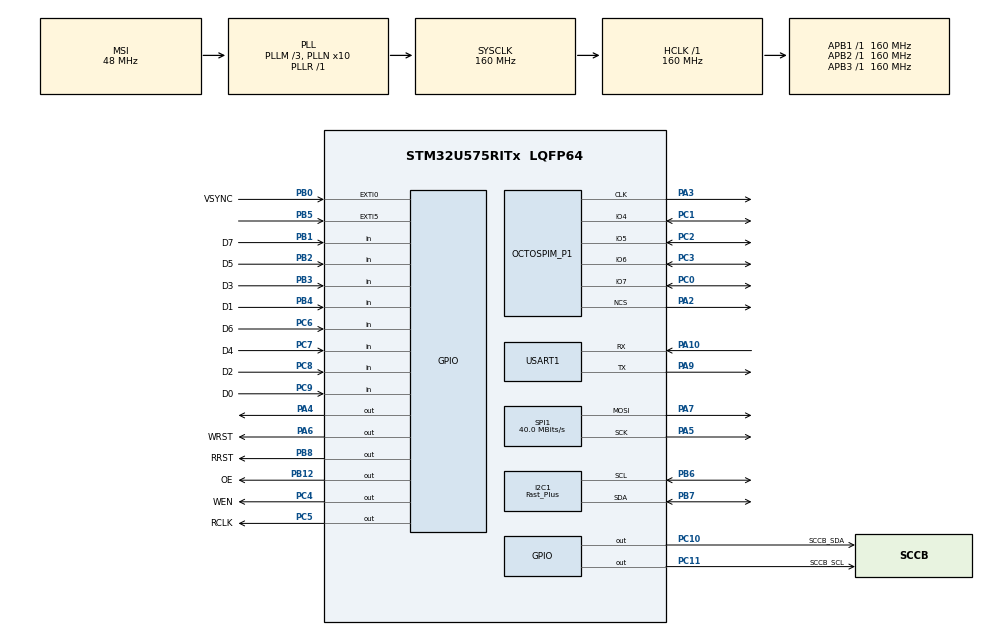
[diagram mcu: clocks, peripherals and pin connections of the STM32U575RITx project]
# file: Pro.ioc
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CORTEX_M33_NS.userName=CORTEX_M33
DMA2D.ColorMode=DMA2D_OUTPUT_RGB565
GPDMA1.DESTDATAWIDTH_GPDMACH0=DMA_DEST_DATAWIDTH_HALFWORD
GPDMA1.DIRECTION_GPDMACH0=DMA_MEMORY_TO_PERIPH
GPDMA1.IPHANDLE_GPDMACH0-SIMPLEREQUEST_GPDMACH0=__NULL
GPDMA1.PRIORITY_GPDMACH0=DMA_LOW_PRIORITY_HIGH_WEIGHT
GPDMA1.REQUEST_GPDMACH0=GPDMA1_REQUEST_SPI1_TX
GPDMA1.SRCDATAWIDTH_GPDMACH0=DMA_SRC_DATAWIDTH_HALFWORD
GPDMA1.SRCINC_GPDMACH0=DMA_SINC_INCREMENTED
GPDMA1.TRANSFERALLOCATEDPORTDEST_GPDMACH0=DMA_DEST_ALLOCATED_PORT1
I2C1.I2C_Speed_Mode=I2C_Fast_Plus
I2C1.Timing=0x00701F6B
Mcu.Family=STM32U5
Mcu.Name=STM32U575RITx
Mcu.Package=LQFP64
NVIC.EXTI0_IRQn=true\:0\:0\:false\:false\:true\:true\:true\:true
NVIC.EXTI5_IRQn=true\:2\:0\:true\:false\:true\:true\:true\:true
NVIC.GPDMA1_Channel0_IRQn=true\:0\:0\:false\:false\:true\:false\:true\:true
NVIC.PriorityGroup=NVIC_PRIORITYGROUP_4
NVIC.SPI1_IRQn=true\:0\:0\:false\:false\:true\:false\:true\:true
NVIC.TIM2_IRQn=true\:10\:0\:true\:false\:true\:true\:true\:true
NVIC.TIM6_IRQn=true\:15\:0\:true\:false\:true\:false\:true\:true
NVIC.TimeBase=TIM6_IRQn
NVIC.TimeBaseIP=TIM6
NVIC.USART1_IRQn=true\:1\:0\:true\:false\:true\:true\:true\:true
OCTOSPI1.ClockMode=HAL_OSPI_CLOCK_MODE_3
OCTOSPI1.ClockPrescaler=2
OCTOSPI1.DeviceSize=24
OCTOSPI1.DeviceType=SPI_DEVICE_FLASH
OCTOSPI1.FifoThreshold=8
OCTOSPI1.SampleShifting=HAL_OSPI_SAMPLE_SHIFTING_HALFCYCLE
PA10.GPIO_Speed=GPIO_SPEED_FREQ_VERY_HIGH
PA10.Mode=Asynchronous
PA10.Signal=USART1_RX
PA13\ (JTMS/SWDIO).Mode=Serial_Wire
PA13\ (JTMS/SWDIO).Signal=DEBUG_JTMS-SWDIO
PA14\ (JTCK/SWCLK).Mode=Serial_Wire
PA14\ (JTCK/SWCLK).Signal=DEBUG_JTCK-SWCLK
PA2.Mode=OCTOSPI1_Port1_NCS
PA2.Signal=OCTOSPIM_P1_NCS
PA3.Mode=O1_P1_CLK
PA3.Signal=OCTOSPIM_P1_CLK
PA4.Signal=GPIO_Output
PA5.GPIO_Speed=GPIO_SPEED_FREQ_VERY_HIGH
PA5.Mode=TX_Only_Simplex_Unidirect_Master
PA5.Signal=SPI1_SCK
PA6.GPIO_Label=WRST
PA6.GPIO_Speed=GPIO_SPEED_FREQ_VERY_HIGH
PA6.Signal=GPIO_Output
PA7.GPIO_Speed=GPIO_SPEED_FREQ_VERY_HIGH
PA7.Mode=TX_Only_Simplex_Unidirect_Master
PA7.Signal=SPI1_MOSI
PA9.GPIO_Speed=GPIO_SPEED_FREQ_VERY_HIGH
PA9.Mode=Asynchronous
PA9.Signal=USART1_TX
PB0.GPIO_Label=VSYNC
PB0.GPIO_ModeDefaultEXTI=GPIO_MODE_IT_RISING
PB0.Signal=GPXTI0
PB1.GPIO_Label=D7
PB1.GPIO_PuPd=GPIO_PULLUP
PB1.Signal=GPIO_Input
PB12.GPIO_Label=OE
PB12.GPIO_Speed=GPIO_SPEED_FREQ_VERY_HIGH
PB12.Signal=GPIO_Output
PB2.GPIO_Label=D5
PB2.GPIO_PuPd=GPIO_PULLUP
PB2.Signal=GPIO_Input
PB3\ (JTDO/TRACESWO).GPIO_Label=D3
PB3\ (JTDO/TRACESWO).GPIO_PuPd=GPIO_PULLUP
PB3\ (JTDO/TRACESWO).Signal=GPIO_Input
PB4\ (NJTRST).GPIO_Label=D1
PB4\ (NJTRST).GPIO_PuPd=GPIO_PULLUP
PB4\ (NJTRST).Signal=GPIO_Input
PB5.GPIO_ModeDefaultEXTI=GPIO_MODE_IT_FALLING
PB5.GPIO_PuPd=GPIO_PULLUP
PB5.Signal=GPXTI5
PB6.GPIO_Speed=GPIO_SPEED_FREQ_VERY_HIGH
PB6.Mode=I2C
PB6.Signal=I2C1_SCL
PB7.GPIO_Speed=GPIO_SPEED_FREQ_VERY_HIGH
PB7.Mode=I2C
PB7.Signal=I2C1_SDA
PB8.GPIO_Label=RRST
PB8.GPIO_Speed=GPIO_SPEED_FREQ_VERY_HIGH
PB8.Signal=GPIO_Output
PC0.Mode=OCTOSPI1_IOL_Port1H
PC0.Signal=OCTOSPIM_P1_IO7
PC1.Mode=OCTOSPI1_IOL_Port1H
PC1.Signal=OCTOSPIM_P1_IO4
PC10.GPIO_Label=SCCB_SDA
PC10.GPIO_Speed=GPIO_SPEED_FREQ_VERY_HIGH
PC10.Signal=GPIO_Output
PC11.GPIO_Label=SCCB_SCL
PC11.GPIO_Speed=GPIO_SPEED_FREQ_VERY_HIGH
PC11.Signal=GPIO_Output
PC2.Mode=OCTOSPI1_IOL_Port1H
PC2.Signal=OCTOSPIM_P1_IO5
PC3.Mode=OCTOSPI1_IOL_Port1H
PC3.Signal=OCTOSPIM_P1_IO6
PC4.GPIO_Label=WEN
PC4.GPIO_Speed=GPIO_SPEED_FREQ_VERY_HIGH
PC4.Signal=GPIO_Output
PC5.GPIO_Label=RCLK
PC5.GPIO_Speed=GPIO_SPEED_FREQ_VERY_HIGH
PC5.Signal=GPIO_Output
PC6.GPIO_Label=D6
PC6.GPIO_PuPd=GPIO_PULLUP
PC6.Signal=GPIO_Input
PC7.GPIO_Label=D4
PC7.GPIO_PuPd=GPIO_PULLUP
PC7.Signal=GPIO_Input
PC8.GPIO_Label=D2
PC8.GPIO_PuPd=GPIO_PULLUP
PC8.Signal=GPIO_Input
PC9.GPIO_Label=D0
PC9.GPIO_PuPd=GPIO_PULLUP
PC9.Signal=GPIO_Input
ProjectManager.HeapSize=0x200
ProjectManager.StackSize=0x8000
ProjectManager.TargetToolchain=MDK-ARM V5.32
RCC.ADCFreq_Value=16000000
RCC.AHBFreq_Value=160000000
RCC.APB1Freq_Value=160000000
RCC.APB1TimFreq_Value=160000000
RCC.APB2Freq_Value=160000000
RCC.APB2TimFreq_Value=160000000
RCC.APB3Freq_Value=160000000
RCC.CortexFreq_Value=160000000
RCC.EPOD_VALUE=48000000
RCC.HCLKFreq_Value=160000000
RCC.HSE_VALUE=16000000
RCC.HSI48_VALUE=48000000
RCC.HSI_VALUE=16000000
RCC.LSE_VALUE=32768
RCC.LSIDIV_VALUE=32000
RCC.MSIClockRange=RCC_MSIRANGE_0
RCC.MSI_VALUE=48000000
RCC.PLL1R=1
RCC.PLL2FRACN=0
RCC.PLL3FRACN=0
RCC.PLLFRACN=0
RCC.PLLM=3
RCC.PLLN=10
RCC.SYSCLKFreq_VALUE=160000000
RCC.SYSCLKSource=RCC_SYSCLKSOURCE_PLLCLK
RCC.USBFreq_Value=48000000
RCC.VCOOutputFreq_Value=160000000
SPI1.BaudRatePrescaler=SPI_BAUDRATEPRESCALER_4
SPI1.CalculateBaudRate=40.0 MBits/s
SPI1.DataSize=SPI_DATASIZE_8BIT
SPI1.Direction=SPI_DIRECTION_2LINES_TXONLY
SPI1.Mode=SPI_MODE_MASTER
SPI1.VirtualType=VM_MASTER
STMicroelectronics.X-CUBE-FREERTOS.1.2.0.configENABLE_FPU=1
STMicroelectronics.X-CUBE-FREERTOS.1.2.0.configTOTAL_HEAP_SIZE=70000
STMicroelectronics.X-CUBE-TOUCHGFX.4.24.0.ApplicationCcGraphicsJjApplication=TouchGFXOoGenerator
STMicroelectronics.X-CUBE-TOUCHGFX.4.24.0.tgfx_buffering_strategy=Double
STMicroelectronics.X-CUBE-TOUCHGFX.4.24.0.tgfx_custom_height=240
STMicroelectronics.X-CUBE-TOUCHGFX.4.24.0.tgfx_custom_width=320
STMicroelectronics.X-CUBE-TOUCHGFX.4.24.0.tgfx_framebuffer_stride=Disabled
STMicroelectronics.X-CUBE-TOUCHGFX.4.24.0.tgfx_framebuffer_stride_value=76800
STMicroelectronics.X-CUBE-TOUCHGFX.4.24.0.tgfx_hardware_accelerator=dma_2d
STMicroelectronics.X-CUBE-TOUCHGFX.4.24.0.tgfx_oswrapper=NoOS
STMicroelectronics.X-CUBE-TOUCHGFX.4.24.0_IsPackSelfContextualization=true
TIM2.PeriodNoDither=50
TIM2.Prescaler=15999
USART1.VirtualMode-Asynchronous=VM_ASYNC
VP_CRC_VS_CRC.Mode=CRC_Activate
VP_DMA2D_VS_DMA2D.Mode=DMA2D_Activate
VP_GPDMA1_VS_GPDMACH0.Mode=SIMPLEREQUEST_GPDMACH0
VP_LPBAMQUEUE_VS_QUEUE.Mode=QUEUEMODE
VP_LPBAM_VS_SIG1.Mode=SmartRun
VP_LPBAM_VS_SIG4.Mode=LPDMA1
VP_MEMORYMAP_VS_MEMORYMAP.Mode=CurAppReg
VP_OCTOSPI1_VS_quad.Mode=quad_mode
VP_PWR_VS_DBSignals.Mode=DisableDeadBatterySignals
VP_PWR_VS_LPOM.Mode=PowerOptimisation
VP_PWR_VS_SECSignals.Mode=Security/Privilege
VP_STMicroelectronics.X-CUBE-TOUCHGFX_VS_GraphicsJjApplication_4.24.0.Mode=GraphicsJjApplication
VP_SYS_VS_tim6.Mode=TIM6
VP_TIM2_VS_ClockSourceINT.Mode=Internal
board=custom

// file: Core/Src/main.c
/* USER CODE BEGIN Header */
/**
  ******************************************************************************
  * @file           : main.c
  * @brief          : Main program body
  ******************************************************************************
  * @attention
  *
  * Copyright (c) 2024 STMicroelectronics.
  * All rights reserved.
  *
  * This software is licensed under terms that can be found in the LICENSE file
  * in the root directory of this software component.
  * If no LICENSE file comes with this software, it is provided AS-IS.
  *
  ******************************************************************************
  */
/* USER CODE END Header */
#include "main.h"
#include "crc.h"
#include "dma2d.h"
#include "gpdma.h"
#include "i2c.h"
#include "memorymap.h"
#include "octospi.h"
#include "spi.h"
#include "tim.h"
#include "usart.h"
#include "gpio.h"
#include "app_touchgfx.h"

/* USER CODE BEGIN Includes */

//ILI9431_Display
#include "ili9341_interface.h"
//ILI9431_Display

//FT6336_Touch
#include "ft6336_interface.h"
//FT6336_Touch

//W25Q128_Flash
#include "bsp_ospi_w25q128.h"
//W25Q128_Flash

//IMU
#include "user_MPU6050.h"
//IMU

//GPS
#include "GPS_interface.h"
//GPS

//Pipe
#include "task_PIPE.h"
//Pipe

//MAX30102

//MAX30102

//AP3216C
#include "bsp_ap3216c.h"
//AP3216C

//SHT20
#include "bsp_sht20.h"
//SHT20

/* USER CODE END Includes */

void SystemClock_Config(void);
static void SystemPower_Config(void);

/* USER CODE BEGIN 0 */
void OSPI_W25Qxx_mmap(void)
{
	int32_t OSPI_Status ;
	//
	OSPI_Status = OSPI_W25Qxx_MemoryMappedMode();
	if( OSPI_Status == OSPI_W25Qxx_OK )
	{

	}
	else
	{
		Error_Handler();
	}
}
/* USER CODE END 0 */

int main(void)
{

  /* MCU Configuration--------------------------------------------------------*/

  /* Reset of all peripherals, Initializes the Flash interface and the Systick. */
  HAL_Init();

  /* Configure the system clock */
  SystemClock_Config();

  /* Configure the System Power */
  SystemPower_Config();

  /* Initialize all configured peripherals */
  MX_GPIO_Init();
  MX_GPDMA1_Init();
  MX_CRC_Init();
  MX_I2C1_Init();
  MX_OCTOSPI1_Init();
  MX_SPI1_Init();
  MX_TIM2_Init();
  MX_DMA2D_Init();
  MX_USART1_UART_Init();
  MX_TouchGFX_Init();
  /* USER CODE BEGIN 2 */

  //FT6336_init
  {
    FT6336_init();
  }

  //TouchGFX
  {
    HAL_TIM_Base_Start_IT(&htim2);
  }

  //MPU6050
  {
    mpu_init_dmp();
  }

  //AP3216C
  {
    ap3216c_init();
  }

  //ILI9431_init
  {
    ILI9341_Init(SCAN_Horizontal);
  }

  //W25Q128_Flash
  {
    OSPI_W25Qxx_Init();	//25Q128
    OSPI_W25Qxx_mmap(); //remap
  }

  HAL_UART_Transmit(&huart1,"Init OK\n",9,10);
  /* USER CODE END 2 */

  /* Infinite loop */
  while (1)
  {

  MX_TouchGFX_Process();
  }
}

void SystemClock_Config(void)
{
  RCC_OscInitTypeDef RCC_OscInitStruct = {0};
  RCC_ClkInitTypeDef RCC_ClkInitStruct = {0};

  /** Configure the main internal regulator output voltage
  */
  if (HAL_PWREx_ControlVoltageScaling(PWR_REGULATOR_VOLTAGE_SCALE1) != HAL_OK)
  {
    Error_Handler();
  }

  /** Initializes the CPU, AHB and APB buses clocks
  */
  RCC_OscInitStruct.OscillatorType = RCC_OSCILLATORTYPE_MSI;
  RCC_OscInitStruct.MSIState = RCC_MSI_ON;
  RCC_OscInitStruct.MSICalibrationValue = RCC_MSICALIBRATION_DEFAULT;
  RCC_OscInitStruct.MSIClockRange = RCC_MSIRANGE_0;
  RCC_OscInitStruct.PLL.PLLState = RCC_PLL_ON;
  RCC_OscInitStruct.PLL.PLLSource = RCC_PLLSOURCE_MSI;
  RCC_OscInitStruct.PLL.PLLMBOOST = RCC_PLLMBOOST_DIV4;
  RCC_OscInitStruct.PLL.PLLM = 3;
  RCC_OscInitStruct.PLL.PLLN = 10;
  RCC_OscInitStruct.PLL.PLLP = 2;
  RCC_OscInitStruct.PLL.PLLQ = 2;
  RCC_OscInitStruct.PLL.PLLR = 1;
  RCC_OscInitStruct.PLL.PLLRGE = RCC_PLLVCIRANGE_1;
  RCC_OscInitStruct.PLL.PLLFRACN = 0;
  if (HAL_RCC_OscConfig(&RCC_OscInitStruct) != HAL_OK)
  {
    Error_Handler();
  }

  /** Initializes the CPU, AHB and APB buses clocks
  */
  RCC_ClkInitStruct.ClockType = RCC_CLOCKTYPE_HCLK|RCC_CLOCKTYPE_SYSCLK
                              |RCC_CLOCKTYPE_PCLK1|RCC_CLOCKTYPE_PCLK2
                              |RCC_CLOCKTYPE_PCLK3;
  RCC_ClkInitStruct.SYSCLKSource = RCC_SYSCLKSOURCE_PLLCLK;
  RCC_ClkInitStruct.AHBCLKDivider = RCC_SYSCLK_DIV1;
  RCC_ClkInitStruct.APB1CLKDivider = RCC_HCLK_DIV1;
  RCC_ClkInitStruct.APB2CLKDivider = RCC_HCLK_DIV1;
  RCC_ClkInitStruct.APB3CLKDivider = RCC_HCLK_DIV1;

  if (HAL_RCC_ClockConfig(&RCC_ClkInitStruct, FLASH_LATENCY_4) != HAL_OK)
  {
    Error_Handler();
  }
}

/**
  * @brief Power Configuration
  * @retval None
  */
static void SystemPower_Config(void)
{

  /*
   * Disable the internal Pull-Up in Dead Battery pins of UCPD peripheral
   */
  HAL_PWREx_DisableUCPDDeadBattery();
}

/* USER CODE BEGIN 4 */
extern void NNN();
/* USER CODE END 4 */

void HAL_TIM_PeriodElapsedCallback(TIM_HandleTypeDef *htim)
{
  if (htim->Instance == TIM6) {
    HAL_IncTick();
  }
  /* USER CODE BEGIN Callback 1 */
  if(htim == &htim2){
    NNN();
    PIPE_IMU = 1;
  }
  /* USER CODE END Callback 1 */
}

void Error_Handler(void)
{
  __disable_irq();
  while (1)
  {
  }
}
